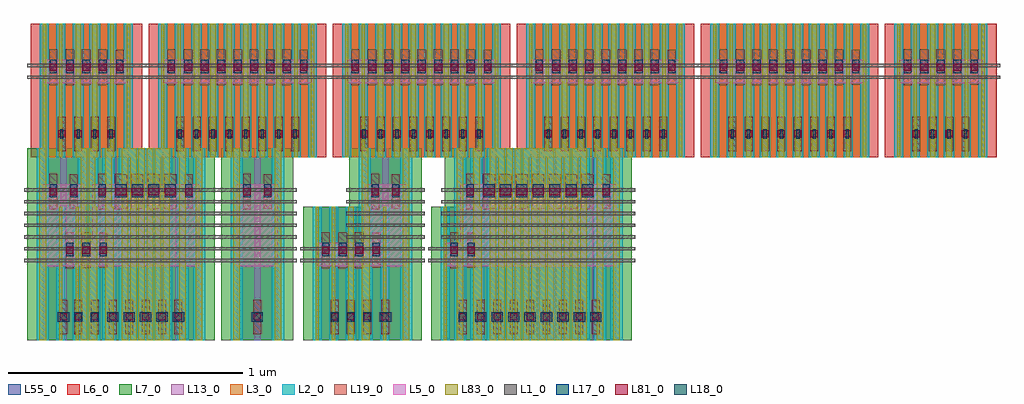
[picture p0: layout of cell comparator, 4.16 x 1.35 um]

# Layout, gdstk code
import gdstk
lib = gdstk.Library(unit=1e-6, precision=1e-09)
def R(c, l, rs):  # rectangles x0, y0, x1, y1
    for r in rs: c.add(gdstk.rectangle(r[:2], r[2:], *l))
def A(c, l, x, y, w, h, nx, ny, dx, dy):  # array of equal rectangles
    R(c, l, [(x+i*dx, y+j*dy, x+i*dx+w, y+j*dy+h) for i in range(nx) for j in range(ny)])
L1_0 = (1, 0)
L2_0 = (2, 0)
L3_0 = (3, 0)
L5_0 = (5, 0)
L6_0 = (6, 0)
L7_0 = (7, 0)
L13_0 = (13, 0)
L17_0 = (17, 0)
L18_0 = (18, 0)
L19_0 = (19, 0)
L55_0 = (55, 0)
L81_0 = (81, 0)
L83_0 = (83, 0)

nfet_pcell_0cb4 = lib.new_cell('nfet_pcell_0cb4')
R(nfet_pcell_0cb4, L1_0, [(-0.14,0,0.154,0.014), (-0.14,0.05,0.154,0.064)])
R(nfet_pcell_0cb4, L2_0, [(-0.086,-0.333,-0.048,0.235), (0.062,-0.333,0.1,0.235)])
R(nfet_pcell_0cb4, L5_0, [(-0.067,-0.018,0,0.082), (0,-0.018,0.014,0.082), (0.014,-0.018,0.081,0.082)])
R(nfet_pcell_0cb4, L7_0, [(-0.126,-0.333,0.14,0.235)])
A(nfet_pcell_0cb4, L13_0, -0.074, -0.333, 0.014, 0.568, 3, 1, 0.074, 0)
R(nfet_pcell_0cb4, L13_0, [(-0.074,-0.333,-0.06,0.235), (0.074,-0.333,0.088,0.235)])
R(nfet_pcell_0cb4, L17_0, [(-0.045,0.025,-0.015,0.082), (0.029,0.025,0.059,0.082)])
R(nfet_pcell_0cb4, L18_0, [(-0.01,-0.254,0.024,-0.214)])
R(nfet_pcell_0cb4, L19_0, [(-0.01,-0.308,0.024,-0.16), (-0.01,-0.308,0.024,-0.16), (-0.047,-0.026,-0.013,0.126), (-0.047,-0.024,-0.013,0.124), (0.027,-0.024,0.061,0.124), (0.027,-0.02,0.061,0.12)])
R(nfet_pcell_0cb4, L55_0, [(-0.067,-0.333,0.081,0.235)])
R(nfet_pcell_0cb4, L81_0, [(-0.008,-0.249,0.022,-0.219), (-0.045,0.035,-0.015,0.065), (0.029,0.035,0.059,0.065)])
R(nfet_pcell_0cb4, L83_0, [(-0.074,-0.333,-0.06,0.235), (0.074,-0.333,0.088,0.235)])

nfet_pcell_547a = lib.new_cell('nfet_pcell_547a')
R(nfet_pcell_547a, L1_0, [(-0.14,0,0.154,0.014), (-0.14,0.05,0.154,0.064)])
R(nfet_pcell_547a, L2_0, [(-0.086,-0.333,-0.048,0.235), (0.062,-0.333,0.1,0.235)])
R(nfet_pcell_547a, L5_0, [(-0.067,-0.018,0,0.082), (0,-0.018,0.014,0.082), (0.014,-0.018,0.081,0.082)])
R(nfet_pcell_547a, L7_0, [(-0.126,-0.333,0.14,0.235)])
A(nfet_pcell_547a, L13_0, -0.074, -0.333, 0.014, 0.568, 3, 1, 0.074, 0)
R(nfet_pcell_547a, L13_0, [(-0.074,-0.333,-0.06,0.235), (0.074,-0.333,0.088,0.235)])
R(nfet_pcell_547a, L17_0, [(-0.045,0.025,-0.015,0.082), (0.029,0.025,0.059,0.082)])
R(nfet_pcell_547a, L18_0, [(-0.01,-0.254,0.024,-0.214)])
R(nfet_pcell_547a, L19_0, [(-0.01,-0.308,0.024,-0.16), (-0.01,-0.308,0.024,-0.16), (-0.047,-0.026,-0.013,0.126), (-0.047,-0.024,-0.013,0.124), (0.027,-0.024,0.061,0.124), (0.027,-0.02,0.061,0.12)])
R(nfet_pcell_547a, L55_0, [(-0.067,-0.333,0.081,0.235)])
R(nfet_pcell_547a, L81_0, [(-0.008,-0.249,0.022,-0.219), (-0.045,0.035,-0.015,0.065), (0.029,0.035,0.059,0.065)])
R(nfet_pcell_547a, L83_0, [(-0.074,-0.333,-0.06,0.235), (0.074,-0.333,0.088,0.235)])

pfet_pcell_78fe = lib.new_cell('pfet_pcell_78fe')
R(pfet_pcell_78fe, L1_0, [(-0.14,0,0.154,0.014), (-0.14,0.05,0.154,0.064)])
R(pfet_pcell_78fe, L2_0, [(-0.086,-0.333,-0.048,0.235), (0.062,-0.333,0.1,0.235)])
R(pfet_pcell_78fe, L3_0, [(-0.067,-0.333,0.081,0.235)])
R(pfet_pcell_78fe, L5_0, [(-0.067,-0.018,0,0.082), (0,-0.018,0.014,0.082), (0.014,-0.018,0.081,0.082)])
R(pfet_pcell_78fe, L6_0, [(-0.126,-0.333,0.14,0.235)])
A(pfet_pcell_78fe, L13_0, -0.074, -0.333, 0.014, 0.568, 3, 1, 0.074, 0)
R(pfet_pcell_78fe, L13_0, [(-0.074,-0.333,-0.06,0.235), (0.074,-0.333,0.088,0.235)])
R(pfet_pcell_78fe, L17_0, [(-0.045,0.025,-0.015,0.082), (0.029,0.025,0.059,0.082)])
R(pfet_pcell_78fe, L18_0, [(0,-0.254,0.014,-0.214)])
R(pfet_pcell_78fe, L19_0, [(-0.01,-0.308,0.024,-0.16), (-0.01,-0.308,0.024,-0.16), (-0.047,-0.026,-0.013,0.126), (-0.047,-0.024,-0.013,0.124), (0.027,-0.024,0.061,0.124), (0.027,-0.02,0.061,0.12)])
R(pfet_pcell_78fe, L55_0, [(-0.067,-0.333,0.081,0.235)])
R(pfet_pcell_78fe, L81_0, [(-0.008,-0.249,0.022,-0.219), (-0.045,0.035,-0.015,0.065), (0.029,0.035,0.059,0.065)])
R(pfet_pcell_78fe, L83_0, [(-0.074,-0.333,-0.06,0.235), (0.074,-0.333,0.088,0.235)])

nfet_pcell_0dc2 = lib.new_cell('nfet_pcell_0dc2')
A(nfet_pcell_0dc2, L1_0, -0.154, 0, 0.336, 0.014, 1, 7, 0, 0.05)
R(nfet_pcell_0dc2, L2_0, [(-0.1,-0.333,-0.048,0.485), (0.076,-0.333,0.128,0.485)])
R(nfet_pcell_0dc2, L5_0, [(-0.074,-0.018,0,0.332), (0,-0.018,0.028,0.332), (0.028,-0.018,0.102,0.332)])
R(nfet_pcell_0dc2, L7_0, [(-0.14,-0.333,0.168,0.485)])
A(nfet_pcell_0dc2, L13_0, -0.088, -0.333, 0.028, 0.818, 3, 1, 0.088, 0)
R(nfet_pcell_0dc2, L13_0, [(-0.088,-0.333,-0.06,0.485), (0.088,-0.333,0.116,0.485)])
R(nfet_pcell_0dc2, L17_0, [(-0.045,0.275,-0.015,0.332), (0.043,0.275,0.073,0.332)])
R(nfet_pcell_0dc2, L18_0, [(-0.01,-0.254,0.038,-0.214)])
R(nfet_pcell_0dc2, L19_0, [(-0.003,-0.308,0.031,-0.16), (-0.003,-0.308,0.031,-0.16), (-0.047,0.224,-0.013,0.376), (-0.047,0.226,-0.013,0.374), (0.041,0.226,0.075,0.374), (0.041,0.23,0.075,0.37)])
R(nfet_pcell_0dc2, L55_0, [(-0.074,-0.333,0.102,0.485)])
R(nfet_pcell_0dc2, L81_0, [(-0.001,-0.249,0.029,-0.219), (-0.045,0.285,-0.015,0.315), (0.043,0.285,0.073,0.315)])
R(nfet_pcell_0dc2, L83_0, [(-0.088,-0.333,-0.06,0.485), (0.088,-0.333,0.116,0.485)])

comparator = lib.new_cell('comparator')
comparator.add(gdstk.Reference(nfet_pcell_0cb4, (1.162,-5.032)))
comparator.add(gdstk.Reference(nfet_pcell_0cb4, (1.232,-5.032)))
comparator.add(gdstk.Reference(nfet_pcell_547a, (1.302,-5.032)))
comparator.add(gdstk.Reference(nfet_pcell_547a, (1.708,-5.032)))
comparator.add(gdstk.Reference(nfet_pcell_547a, (0.07,-5.032)))
comparator.add(gdstk.Reference(nfet_pcell_547a, (0.14,-5.032)))
comparator.add(gdstk.Reference(pfet_pcell_78fe, (2.072,-4.252)))
comparator.add(gdstk.Reference(pfet_pcell_78fe, (2.212,-4.252)))
comparator.add(gdstk.Reference(pfet_pcell_78fe, (1.638,-4.252)))
comparator.add(gdstk.Reference(pfet_pcell_78fe, (1.568,-4.252)))
comparator.add(gdstk.Reference(pfet_pcell_78fe, (1.288,-4.252)))
comparator.add(gdstk.Reference(pfet_pcell_78fe, (2.282,-4.252)))
comparator.add(gdstk.Reference(pfet_pcell_78fe, (1.428,-4.252)))
comparator.add(gdstk.Reference(pfet_pcell_78fe, (2.422,-4.252)))
comparator.add(gdstk.Reference(pfet_pcell_78fe, (3.206,-4.252)))
comparator.add(gdstk.Reference(pfet_pcell_78fe, (0.644,-4.252)))
comparator.add(gdstk.Reference(pfet_pcell_78fe, (2.352,-4.252)))
comparator.add(gdstk.Reference(pfet_pcell_78fe, (0.854,-4.252)))
comparator.add(gdstk.Reference(pfet_pcell_78fe, (3.64,-4.252)))
comparator.add(gdstk.Reference(pfet_pcell_78fe, (2.492,-4.252)))
comparator.add(gdstk.Reference(pfet_pcell_78fe, (3.066,-4.252)))
comparator.add(gdstk.Reference(pfet_pcell_78fe, (2.562,-4.252)))
comparator.add(gdstk.Reference(pfet_pcell_78fe, (1.498,-4.252)))
comparator.add(gdstk.Reference(pfet_pcell_78fe, (2.142,-4.252)))
comparator.add(gdstk.Reference(pfet_pcell_78fe, (0.504,-4.252)))
comparator.add(gdstk.Reference(pfet_pcell_78fe, (0.784,-4.252)))
comparator.add(gdstk.Reference(pfet_pcell_78fe, (3.276,-4.252)))
comparator.add(gdstk.Reference(pfet_pcell_78fe, (1.708,-4.252)))
comparator.add(gdstk.Reference(pfet_pcell_78fe, (0.994,-4.252)))
comparator.add(gdstk.Reference(pfet_pcell_78fe, (3.78,-4.252)))
comparator.add(gdstk.Reference(pfet_pcell_78fe, (0.924,-4.252)))
comparator.add(gdstk.Reference(pfet_pcell_78fe, (1.778,-4.252)))
comparator.add(gdstk.Reference(pfet_pcell_78fe, (3.71,-4.252)))
comparator.add(gdstk.Reference(pfet_pcell_78fe, (1.358,-4.252)))
comparator.add(gdstk.Reference(pfet_pcell_78fe, (0.574,-4.252)))
comparator.add(gdstk.Reference(pfet_pcell_78fe, (2.926,-4.252)))
comparator.add(gdstk.Reference(pfet_pcell_78fe, (3.136,-4.252)))
comparator.add(gdstk.Reference(pfet_pcell_78fe, (3.346,-4.252)))
comparator.add(gdstk.Reference(pfet_pcell_78fe, (2.856,-4.252)))
comparator.add(gdstk.Reference(pfet_pcell_78fe, (0.07,-4.252)))
comparator.add(gdstk.Reference(pfet_pcell_78fe, (2.996,-4.252)))
comparator.add(gdstk.Reference(pfet_pcell_78fe, (0.714,-4.252)))
comparator.add(gdstk.Reference(pfet_pcell_78fe, (0.14,-4.252)))
comparator.add(gdstk.Reference(pfet_pcell_78fe, (0.21,-4.252)))
comparator.add(gdstk.Reference(pfet_pcell_78fe, (3.85,-4.252)))
comparator.add(gdstk.Reference(pfet_pcell_78fe, (0,-4.252)))
comparator.add(gdstk.Reference(nfet_pcell_0dc2, (2.128,-5.032)))
comparator.add(gdstk.Reference(nfet_pcell_0dc2, (1.848,-5.032)))
comparator.add(gdstk.Reference(nfet_pcell_0dc2, (0.42,-5.032)))
comparator.add(gdstk.Reference(nfet_pcell_0dc2, (2.268,-5.032)))
comparator.add(gdstk.Reference(nfet_pcell_0dc2, (0,-5.032)))
comparator.add(gdstk.Reference(nfet_pcell_0dc2, (0.28,-5.032)))
comparator.add(gdstk.Reference(nfet_pcell_0dc2, (0.35,-5.032)))
comparator.add(gdstk.Reference(nfet_pcell_0dc2, (1.778,-5.032)))
comparator.add(gdstk.Reference(nfet_pcell_0dc2, (0.49,-5.032)))
comparator.add(gdstk.Reference(nfet_pcell_0dc2, (1.988,-5.032)))
comparator.add(gdstk.Reference(nfet_pcell_0dc2, (1.372,-5.032)))
comparator.add(gdstk.Reference(nfet_pcell_0dc2, (0.826,-5.032)))
comparator.add(gdstk.Reference(nfet_pcell_0dc2, (0.21,-5.032)))
comparator.add(gdstk.Reference(nfet_pcell_0dc2, (1.918,-5.032)))
comparator.add(gdstk.Reference(nfet_pcell_0dc2, (2.058,-5.032)))
comparator.add(gdstk.Reference(nfet_pcell_0dc2, (2.198,-5.032)))

lib.write_gds('comparator.gds')
